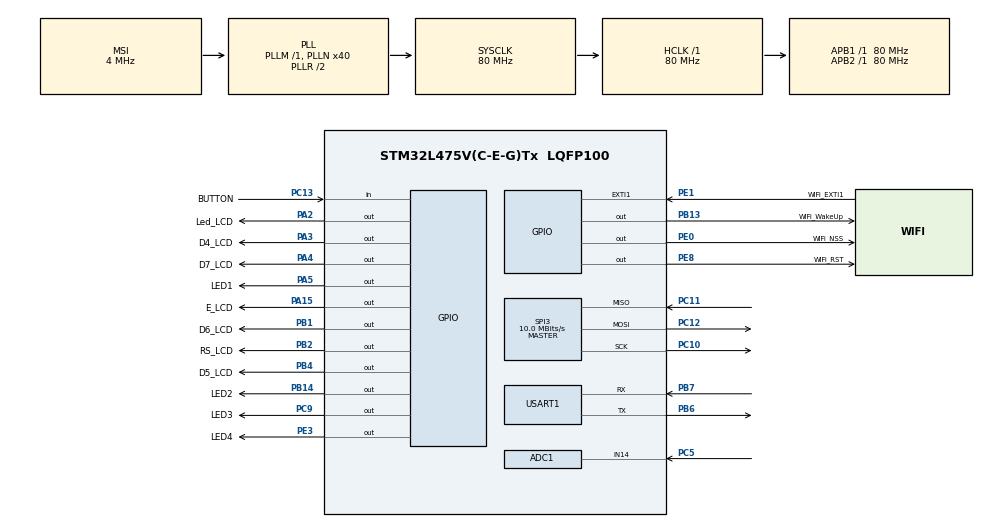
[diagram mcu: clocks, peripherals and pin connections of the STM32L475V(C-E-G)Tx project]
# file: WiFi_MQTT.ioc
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ADC1.Channel-0\#ChannelRegularConversion=ADC_CHANNEL_14
ADC1.NbrOfConversionFlag=1
ADC1.OffsetNumber-0\#ChannelRegularConversion=ADC_OFFSET_NONE
ADC1.Rank-0\#ChannelRegularConversion=1
ADC1.SamplingTime-0\#ChannelRegularConversion=ADC_SAMPLETIME_2CYCLES_5
ADC1.master=1
Mcu.Family=STM32L4
Mcu.Name=STM32L475V(C-E-G)Tx
Mcu.Package=LQFP100
NVIC.EXTI1_IRQn=true\:0\:0\:false\:false\:true\:true\:true\:true
NVIC.PriorityGroup=NVIC_PRIORITYGROUP_4
NVIC.SPI3_IRQn=true\:0\:0\:false\:false\:true\:true\:true\:true
PA15\ (JTDI).GPIO_Label=E_LCD
PA15\ (JTDI).Signal=GPIO_Output
PA2.GPIO_Label=Led_LCD
PA2.Signal=GPIO_Output
PA3.GPIO_Label=D4_LCD
PA3.Signal=GPIO_Output
PA4.GPIO_Label=D7_LCD
PA4.Signal=GPIO_Output
PA5.GPIO_Label=LED1
PA5.Signal=GPIO_Output
PB1.GPIO_Label=D6_LCD
PB1.Signal=GPIO_Output
PB13.GPIO_Label=WiFi_WakeUp
PB13.Signal=GPIO_Output
PB14.GPIO_Label=LED2
PB14.Signal=GPIO_Output
PB2.GPIO_Label=RS_LCD
PB2.Signal=GPIO_Output
PB4\ (NJTRST).GPIO_Label=D5_LCD
PB4\ (NJTRST).Signal=GPIO_Output
PB6.Mode=Asynchronous
PB6.Signal=USART1_TX
PB7.Mode=Asynchronous
PB7.Signal=USART1_RX
PC10.Mode=Full_Duplex_Master
PC10.Signal=SPI3_SCK
PC11.Mode=Full_Duplex_Master
PC11.Signal=SPI3_MISO
PC12.Mode=Full_Duplex_Master
PC12.Signal=SPI3_MOSI
PC13.GPIO_Label=BUTTON
PC13.Signal=GPIO_Input
PC5.Signal=ADCx_IN14
PC9.GPIO_Label=LED3
PC9.Signal=GPIO_Output
PE0.GPIO_Label=WiFi_NSS
PE0.Signal=GPIO_Output
PE1.GPIO_Label=WiFi_EXTI1
PE1.GPIO_ModeDefaultEXTI=GPIO_MODE_IT_RISING
PE1.Signal=GPXTI1
PE3.GPIO_Label=LED4
PE3.Signal=GPIO_Output
PE8.GPIO_Label=WiFi_RST
PE8.Signal=GPIO_Output
ProjectManager.HeapSize=0x200
ProjectManager.StackSize=0x400
ProjectManager.TargetToolchain=STM32CubeIDE
RCC.ADCFreq_Value=32000000
RCC.AHBFreq_Value=80000000
RCC.APB1Freq_Value=80000000
RCC.APB1TimFreq_Value=80000000
RCC.APB2Freq_Value=80000000
RCC.APB2TimFreq_Value=80000000
RCC.CortexFreq_Value=80000000
RCC.HCLKFreq_Value=80000000
RCC.HSE_VALUE=8000000
RCC.HSI_VALUE=16000000
RCC.LSE_VALUE=32768
RCC.MSI_VALUE=4000000
RCC.PLLN=40
RCC.PLLSAI1N=16
RCC.SYSCLKFreq_VALUE=80000000
RCC.SYSCLKSource=RCC_SYSCLKSOURCE_PLLCLK
RCC.USBFreq_Value=32000000
RCC.VCOOutputFreq_Value=160000000
SH.ADCx_IN14.0=ADC1_IN14,IN14-Single-Ended
SPI3.BaudRatePrescaler=SPI_BAUDRATEPRESCALER_8
SPI3.CalculateBaudRate=10.0 MBits/s
SPI3.DataSize=SPI_DATASIZE_16BIT
SPI3.Direction=SPI_DIRECTION_2LINES
SPI3.Mode=SPI_MODE_MASTER
SPI3.VirtualType=VM_MASTER
USART1.VirtualMode-Asynchronous=VM_ASYNC
board=custom

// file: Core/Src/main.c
/* USER CODE BEGIN Header */
/**
  ******************************************************************************
  * @file           : main.c
  * @brief          : Main program body
  ******************************************************************************
  * @attention
  *
  * Copyright (c) 2025 STMicroelectronics.
  * All rights reserved.
  *
  * This software is licensed under terms that can be found in the LICENSE file
  * in the root directory of this software component.
  * If no LICENSE file comes with this software, it is provided AS-IS.
  *
  ******************************************************************************
  */
/* USER CODE END Header */
#include "main.h"

/* USER CODE BEGIN Includes */
#include "wifi.h"
#include "MQTTClient.h"
#include "timer.h"
#include "network_interface.h"
#include <stdint.h>
#include "hd44780.h"
/* USER CODE END Includes */

/* USER CODE BEGIN PD */
#define TERMINAL_USE

/* Update SSID and PASSWORD with own Access point settings */
#define SSID     "Red"
#define PASSWORD "patata88"

uint8_t RemoteIP[] = {192,168,153,74}; // aqui se digina al broker
#define RemotePORT	1883

#define WIFI_WRITE_TIMEOUT 10000
#define WIFI_READ_TIMEOUT  10000

#define CONNECTION_TRIAL_MAX          10

#if defined (TERMINAL_USE)
#define TERMOUT(...)  printf(__VA_ARGS__)
#else
#define TERMOUT(...)
#endif

void HAL_GPIO_EXTI_Callback(uint16_t GPIO_Pin)
{
  switch (GPIO_Pin)
  {
    case (GPIO_PIN_1):
    {
      SPI_WIFI_ISR();
      break;
    }
    default:
    {
      break;
    }
  }
}

/* USER CODE END PD */

ADC_HandleTypeDef hadc1;

SPI_HandleTypeDef hspi3;

UART_HandleTypeDef huart1;

/* USER CODE BEGIN PV */
#if defined (TERMINAL_USE)
extern UART_HandleTypeDef hDiscoUart;
#endif /* TERMINAL_USE */

uint8_t modo;
uint8_t num_paradas;
/* USER CODE END PV */

void SystemClock_Config(void);
static void MX_GPIO_Init(void);
static void MX_USART1_UART_Init(void);
static void MX_SPI3_Init(void);
static void MX_ADC1_Init(void);
/* USER CODE BEGIN PFP */
#if defined (TERMINAL_USE)
#ifdef __GNUC__
/* With GCC, small TERMOUT (option LD Linker->Libraries->Small TERMOUT
   set to 'Yes') calls __io_putchar() */
#define PUTCHAR_PROTOTYPE int __io_putchar(int ch)
#else
#define PUTCHAR_PROTOTYPE int fputc(int ch, FILE *f)
#endif /* __GNUC__ */
#endif /* TERMINAL_USE */
#if defined (TERMINAL_USE)
/**
  * @brief  Retargets the C library TERMOUT function to the USART.
  * @param  None
  * @retval None
  */
PUTCHAR_PROTOTYPE
{
  /* Place your implementation of fputc here */
  /* e.g. write a character to the USART1 and Loop until the end of transmission */
  HAL_UART_Transmit(&huart1, (uint8_t *)&ch, 1, 0xFFFF);

  return ch;
}
#endif /* TERMINAL_USE */
/* USER CODE END PFP */

/* USER CODE BEGIN 0 */

/* MQTT Network interface */
int mqtt_read(Network* n, unsigned char* buffer, int len, int timeout_ms) {
    uint16_t Datalen = 0;
    if(WIFI_ReceiveData(0, buffer, len, &Datalen, timeout_ms) == WIFI_STATUS_OK) return Datalen;
    return -1;
}

int mqtt_write(Network* n, unsigned char* buffer, int len, int timeout_ms) {
    uint16_t SentLen = 0;
    if(WIFI_SendData(0, buffer, len, &SentLen, timeout_ms) == WIFI_STATUS_OK) return SentLen;
    return -1;
}

void mqtt_network_init(Network* n) {
    n->mqttread = mqtt_read;
    n->mqttwrite = mqtt_write;
}

void messageArrived(MessageData* md) {
    MQTTMessage* message = md->message;

    //TERMOUT("MQTT Message: recibido\r\n");
    char str[100];
    int len = (int)message->payloadlen;
    if (len >= sizeof(str)) len = sizeof(str) - 1;
    memcpy(str, message->payload, len);
    str[len]='\0';

    char *dato1 = strtok(str, ",");
    char *dato2 = strtok(NULL, ",");

    const char* topic = md->topicName->lenstring.data;
    int topic_len = md->topicName->lenstring.len;

    // Copiar el nombre del topic a un string con \0
    char topicName[100];
    if (topic_len >= sizeof(topicName)) topic_len = sizeof(topicName) - 1;
    memcpy(topicName, topic, topic_len);
    topicName[topic_len] = '\0';

    char numero_char = topicName[12]; // '1'
    int numero = numero_char - '0'; // Convertir el caracter '1' a número 1
   /*TERMOUT("Camara: %d\r\n", numero);
    TERMOUT("Modo: %d\r\n", modo);
    TERMOUT("Payload recibido: %s\r\n", str);
    TERMOUT("Dato1: %s\r\n", dato1);
    TERMOUT("Dato2: %s\r\n", dato2);
    */
    TERMOUT("MQTT Message: P%d: %s personas \r\n",numero, dato1);
    TERMOUT("\r\n",numero, dato1);
    mostrarEnLCD(dato1, numero,dato2);

    HAL_Delay(100);

}

void mostrarEnLCD(char* mensaje, int topico, char* estado) {
	char res1[100];
	char res2[100];

	if(topico == modo){
	    //TERMOUT("MQTT Message: P%d: %s personas \r\n",topico, mensaje);
	   	sprintf(res1,"P%d: %s personas", topico, mensaje);
	   	moveToXY(0, 0);
	   	lcd_print(res1);

	   	if(strcmp(estado, "true") == 0){
	   			//TERMOUT("MQTT Message: La P%d esta llena \r\n",topico);
	   			sprintf(res2,"La P%d esta llena", topico);
	   			moveToXY(1, 0);
	   			lcd_print(res2);
	   	}else{
	   			moveToXY(1, 0);
	   			lcd_print("                ");
	   	}
	}

}

void mi_bot(void)
{
	uint16_t botin;
	char str[16];

	HAL_ADC_Start(&hadc1);
	HAL_ADC_PollForConversion(&hadc1, 100);

	botin=HAL_ADC_GetValue (&hadc1);

	if (botin<3000) //solo con SELECT pulsado se lee 3333, esperamos que pulse otra tecla
	{
		if (botin<2730 && 2000<botin){ //boton LEFT
			if(modo == 0){
				modo = num_paradas-1;
			}else{
			modo=modo-1;
			}
		}
		if(botin<10){ //boton RIGHT
			if(modo == (num_paradas-1)){
				modo = 0;
			}else{
				modo=modo+1;
			}
		}
	}

}
/* USER CODE END 0 */

int main(void)
{

  /* USER CODE BEGIN 1 */
	  uint8_t  MAC_Addr[6] = {0};
	  uint8_t  IP_Addr[4] = {0};
	  int32_t Socket = -1;
	  int16_t Trials = CONNECTION_TRIAL_MAX;
	  modo = 0;
	  num_paradas=3;
  /* USER CODE END 1 */

  /* MCU Configuration--------------------------------------------------------*/

  /* Reset of all peripherals, Initializes the Flash interface and the Systick. */
  HAL_Init();

  /* Configure the system clock */
  SystemClock_Config();

  /* Initialize all configured peripherals */
  MX_GPIO_Init();
  MX_USART1_UART_Init();
  MX_SPI3_Init();
  MX_ADC1_Init();
  /* USER CODE BEGIN 2 */

  lcd_reset();
  lcd_display_settings(1,0,0);
  lcd_clear();

  TERMOUT("****** MQTT on STM32 ******\r\n");

    if(WIFI_Init() == WIFI_STATUS_OK) {
      TERMOUT("> WIFI Initialized.\r\n");
      lcd_clear();
      moveToXY(0, 0);
      lcd_print("WIFI Initialized");
      WIFI_GetMAC_Address(MAC_Addr, sizeof(MAC_Addr));
      if(WIFI_Connect(SSID, PASSWORD, WIFI_ECN_WPA2_PSK) == WIFI_STATUS_OK) {
        WIFI_GetIP_Address(IP_Addr, sizeof(IP_Addr));
        TERMOUT("> Got IP: %d.%d.%d.%d\r\n", IP_Addr[0], IP_Addr[1], IP_Addr[2], IP_Addr[3]);

        while (Trials--) {
          if(WIFI_OpenClientConnection(0, WIFI_TCP_PROTOCOL, "MQTT", RemoteIP, RemotePORT, 0) == WIFI_STATUS_OK) {
            TERMOUT("> TCP connection established.\r\n");
            Socket = 0;
            break;
          }
        }
      }
    }

    if (Socket == -1) {
      TERMOUT("> Failed to connect to MQTT broker\r\n");
      lcd_clear();
      moveToXY(0, 0);
      lcd_print("Not connected!");
      while(1);
    }

    Network network;
    MQTTClient client;
    unsigned char sendbuf[1000], readbuf[1000];

    mqtt_network_init(&network);
    MQTTClientInit(&client, &network, 3000, sendbuf, sizeof(sendbuf), readbuf, sizeof(readbuf));

    MQTTPacket_connectData data = MQTTPacket_connectData_initializer;
    data.MQTTVersion = 3;
    data.clientID.cstring = "STM32Client";

    if (MQTTConnect(&client, &data) != MQ_SUCCESS) {
      TERMOUT("MQTT connect failed\r\n");
    } else {
      TERMOUT("MQTT connected!\r\n");
      lcd_clear();
      moveToXY(0, 0);
      lcd_print("MQTT connected!");

      MQTTSubscribe(&client, "grupo/#", QOS0, messageArrived);
    }

  /* USER CODE END 2 */

  /* Infinite loop */
  while (1)
  {

    /* USER CODE BEGIN 3 */
	 mi_bot();
	 HAL_Delay(100);
	 MQTTYield(&client, 1000);

  }
  /* USER CODE END 3 */
}

void SystemClock_Config(void)
{
  RCC_OscInitTypeDef RCC_OscInitStruct = {0};
  RCC_ClkInitTypeDef RCC_ClkInitStruct = {0};

  /** Configure the main internal regulator output voltage
  */
  if (HAL_PWREx_ControlVoltageScaling(PWR_REGULATOR_VOLTAGE_SCALE1) != HAL_OK)
  {
    Error_Handler();
  }

  /** Initializes the RCC Oscillators according to the specified parameters
  * in the RCC_OscInitTypeDef structure.
  */
  RCC_OscInitStruct.OscillatorType = RCC_OSCILLATORTYPE_MSI;
  RCC_OscInitStruct.MSIState = RCC_MSI_ON;
  RCC_OscInitStruct.MSICalibrationValue = 0;
  RCC_OscInitStruct.MSIClockRange = RCC_MSIRANGE_6;
  RCC_OscInitStruct.PLL.PLLState = RCC_PLL_ON;
  RCC_OscInitStruct.PLL.PLLSource = RCC_PLLSOURCE_MSI;
  RCC_OscInitStruct.PLL.PLLM = 1;
  RCC_OscInitStruct.PLL.PLLN = 40;
  RCC_OscInitStruct.PLL.PLLP = RCC_PLLP_DIV7;
  RCC_OscInitStruct.PLL.PLLQ = RCC_PLLQ_DIV2;
  RCC_OscInitStruct.PLL.PLLR = RCC_PLLR_DIV2;
  if (HAL_RCC_OscConfig(&RCC_OscInitStruct) != HAL_OK)
  {
    Error_Handler();
  }

  /** Initializes the CPU, AHB and APB buses clocks
  */
  RCC_ClkInitStruct.ClockType = RCC_CLOCKTYPE_HCLK|RCC_CLOCKTYPE_SYSCLK
                              |RCC_CLOCKTYPE_PCLK1|RCC_CLOCKTYPE_PCLK2;
  RCC_ClkInitStruct.SYSCLKSource = RCC_SYSCLKSOURCE_PLLCLK;
  RCC_ClkInitStruct.AHBCLKDivider = RCC_SYSCLK_DIV1;
  RCC_ClkInitStruct.APB1CLKDivider = RCC_HCLK_DIV1;
  RCC_ClkInitStruct.APB2CLKDivider = RCC_HCLK_DIV1;

  if (HAL_RCC_ClockConfig(&RCC_ClkInitStruct, FLASH_LATENCY_4) != HAL_OK)
  {
    Error_Handler();
  }
}

static void MX_ADC1_Init(void)
{

  ADC_MultiModeTypeDef multimode = {0};
  ADC_ChannelConfTypeDef sConfig = {0};

  /** Common config
  */
  hadc1.Instance = ADC1;
  hadc1.Init.ClockPrescaler = ADC_CLOCK_ASYNC_DIV1;
  hadc1.Init.Resolution = ADC_RESOLUTION_12B;
  hadc1.Init.DataAlign = ADC_DATAALIGN_RIGHT;
  hadc1.Init.ScanConvMode = ADC_SCAN_DISABLE;
  hadc1.Init.EOCSelection = ADC_EOC_SINGLE_CONV;
  hadc1.Init.LowPowerAutoWait = DISABLE;
  hadc1.Init.ContinuousConvMode = DISABLE;
  hadc1.Init.NbrOfConversion = 1;
  hadc1.Init.DiscontinuousConvMode = DISABLE;
  hadc1.Init.ExternalTrigConv = ADC_SOFTWARE_START;
  hadc1.Init.ExternalTrigConvEdge = ADC_EXTERNALTRIGCONVEDGE_NONE;
  hadc1.Init.DMAContinuousRequests = DISABLE;
  hadc1.Init.Overrun = ADC_OVR_DATA_PRESERVED;
  hadc1.Init.OversamplingMode = DISABLE;
  if (HAL_ADC_Init(&hadc1) != HAL_OK)
  {
    Error_Handler();
  }

  /** Configure the ADC multi-mode
  */
  multimode.Mode = ADC_MODE_INDEPENDENT;
  if (HAL_ADCEx_MultiModeConfigChannel(&hadc1, &multimode) != HAL_OK)
  {
    Error_Handler();
  }

  /** Configure Regular Channel
  */
  sConfig.Channel = ADC_CHANNEL_14;
  sConfig.Rank = ADC_REGULAR_RANK_1;
  sConfig.SamplingTime = ADC_SAMPLETIME_2CYCLES_5;
  sConfig.SingleDiff = ADC_SINGLE_ENDED;
  sConfig.OffsetNumber = ADC_OFFSET_NONE;
  sConfig.Offset = 0;
  if (HAL_ADC_ConfigChannel(&hadc1, &sConfig) != HAL_OK)
  {
    Error_Handler();
  }

}

static void MX_SPI3_Init(void)
{

  /* SPI3 parameter configuration*/
  hspi3.Instance = SPI3;
  hspi3.Init.Mode = SPI_MODE_MASTER;
  hspi3.Init.Direction = SPI_DIRECTION_2LINES;
  hspi3.Init.DataSize = SPI_DATASIZE_16BIT;
  hspi3.Init.CLKPolarity = SPI_POLARITY_LOW;
  hspi3.Init.CLKPhase = SPI_PHASE_1EDGE;
  hspi3.Init.NSS = SPI_NSS_SOFT;
  hspi3.Init.BaudRatePrescaler = SPI_BAUDRATEPRESCALER_8;
  hspi3.Init.FirstBit = SPI_FIRSTBIT_MSB;
  hspi3.Init.TIMode = SPI_TIMODE_DISABLE;
  hspi3.Init.CRCCalculation = SPI_CRCCALCULATION_DISABLE;
  hspi3.Init.CRCPolynomial = 7;
  hspi3.Init.CRCLength = SPI_CRC_LENGTH_DATASIZE;
  hspi3.Init.NSSPMode = SPI_NSS_PULSE_ENABLE;
  if (HAL_SPI_Init(&hspi3) != HAL_OK)
  {
    Error_Handler();
  }

}

static void MX_USART1_UART_Init(void)
{

  huart1.Instance = USART1;
  huart1.Init.BaudRate = 115200;
  huart1.Init.WordLength = UART_WORDLENGTH_8B;
  huart1.Init.StopBits = UART_STOPBITS_1;
  huart1.Init.Parity = UART_PARITY_NONE;
  huart1.Init.Mode = UART_MODE_TX_RX;
  huart1.Init.HwFlowCtl = UART_HWCONTROL_NONE;
  huart1.Init.OverSampling = UART_OVERSAMPLING_16;
  huart1.Init.OneBitSampling = UART_ONE_BIT_SAMPLE_DISABLE;
  huart1.AdvancedInit.AdvFeatureInit = UART_ADVFEATURE_NO_INIT;
  if (HAL_UART_Init(&huart1) != HAL_OK)
  {
    Error_Handler();
  }

}

static void MX_GPIO_Init(void)
{
  GPIO_InitTypeDef GPIO_InitStruct = {0};

  /* GPIO Ports Clock Enable */
  __HAL_RCC_GPIOE_CLK_ENABLE();
  __HAL_RCC_GPIOC_CLK_ENABLE();
  __HAL_RCC_GPIOA_CLK_ENABLE();
  __HAL_RCC_GPIOB_CLK_ENABLE();

  /*Configure GPIO pin Output Level */
  HAL_GPIO_WritePin(GPIOE, LED4_Pin|WiFi_RST_Pin|WiFi_NSS_Pin, GPIO_PIN_RESET);

  /*Configure GPIO pin Output Level */
  HAL_GPIO_WritePin(GPIOA, Led_LCD_Pin|D4_LCD_Pin|D7_LCD_Pin|LED1_Pin
                          |E_LCD_Pin, GPIO_PIN_RESET);

  /*Configure GPIO pin Output Level */
  HAL_GPIO_WritePin(GPIOB, D6_LCD_Pin|RS_LCD_Pin|WiFi_WakeUp_Pin|LED2_Pin
                          |D5_LCD_Pin, GPIO_PIN_RESET);

  /*Configure GPIO pin Output Level */
  HAL_GPIO_WritePin(LED3_GPIO_Port, LED3_Pin, GPIO_PIN_RESET);

  /*Configure GPIO pins : LED4_Pin WiFi_RST_Pin WiFi_NSS_Pin */
  GPIO_InitStruct.Pin = LED4_Pin|WiFi_RST_Pin|WiFi_NSS_Pin;
  GPIO_InitStruct.Mode = GPIO_MODE_OUTPUT_PP;
  GPIO_InitStruct.Pull = GPIO_NOPULL;
  GPIO_InitStruct.Speed = GPIO_SPEED_FREQ_LOW;
  HAL_GPIO_Init(GPIOE, &GPIO_InitStruct);

  /*Configure GPIO pin : BUTTON_Pin */
  GPIO_InitStruct.Pin = BUTTON_Pin;
  GPIO_InitStruct.Mode = GPIO_MODE_INPUT;
  GPIO_InitStruct.Pull = GPIO_NOPULL;
  HAL_GPIO_Init(BUTTON_GPIO_Port, &GPIO_InitStruct);

  /*Configure GPIO pins : Led_LCD_Pin D4_LCD_Pin D7_LCD_Pin LED1_Pin
                           E_LCD_Pin */
  GPIO_InitStruct.Pin = Led_LCD_Pin|D4_LCD_Pin|D7_LCD_Pin|LED1_Pin
                          |E_LCD_Pin;
  GPIO_InitStruct.Mode = GPIO_MODE_OUTPUT_PP;
  GPIO_InitStruct.Pull = GPIO_NOPULL;
  GPIO_InitStruct.Speed = GPIO_SPEED_FREQ_LOW;
  HAL_GPIO_Init(GPIOA, &GPIO_InitStruct);

  /*Configure GPIO pins : D6_LCD_Pin RS_LCD_Pin WiFi_WakeUp_Pin LED2_Pin
                           D5_LCD_Pin */
  GPIO_InitStruct.Pin = D6_LCD_Pin|RS_LCD_Pin|WiFi_WakeUp_Pin|LED2_Pin
                          |D5_LCD_Pin;
  GPIO_InitStruct.Mode = GPIO_MODE_OUTPUT_PP;
  GPIO_InitStruct.Pull = GPIO_NOPULL;
  GPIO_InitStruct.Speed = GPIO_SPEED_FREQ_LOW;
  HAL_GPIO_Init(GPIOB, &GPIO_InitStruct);

  /*Configure GPIO pin : LED3_Pin */
  GPIO_InitStruct.Pin = LED3_Pin;
  GPIO_InitStruct.Mode = GPIO_MODE_OUTPUT_PP;
  GPIO_InitStruct.Pull = GPIO_NOPULL;
  GPIO_InitStruct.Speed = GPIO_SPEED_FREQ_LOW;
  HAL_GPIO_Init(LED3_GPIO_Port, &GPIO_InitStruct);

  /*Configure GPIO pin : WiFi_EXTI1_Pin */
  GPIO_InitStruct.Pin = WiFi_EXTI1_Pin;
  GPIO_InitStruct.Mode = GPIO_MODE_IT_RISING;
  GPIO_InitStruct.Pull = GPIO_NOPULL;
  HAL_GPIO_Init(WiFi_EXTI1_GPIO_Port, &GPIO_InitStruct);

  /* EXTI interrupt init*/
  HAL_NVIC_SetPriority(EXTI1_IRQn, 0, 0);
  HAL_NVIC_EnableIRQ(EXTI1_IRQn);

}

void Error_Handler(void)
{
  __disable_irq();
  while (1)
  {
  }
}
